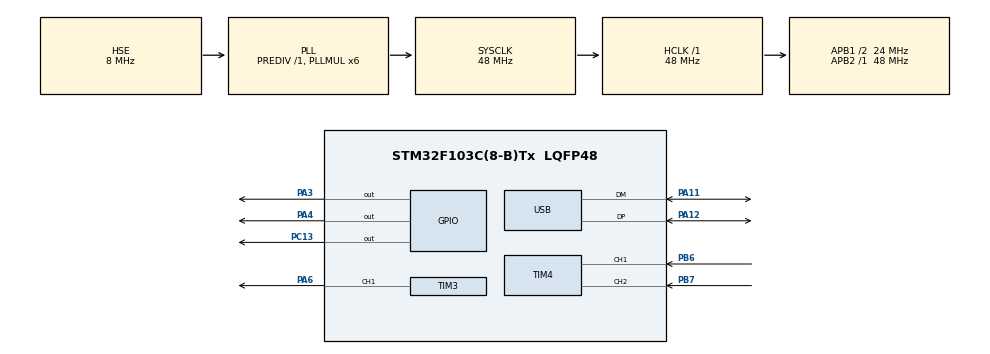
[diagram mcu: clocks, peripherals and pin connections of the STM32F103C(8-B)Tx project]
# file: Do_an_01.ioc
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Mcu.Family=STM32F1
Mcu.Name=STM32F103C(8-B)Tx
Mcu.Package=LQFP48
NVIC.PriorityGroup=NVIC_PRIORITYGROUP_4
NVIC.TIM2_IRQn=true\:0\:0\:false\:false\:true\:true\:true
NVIC.USB_LP_CAN1_RX0_IRQn=true\:0\:0\:false\:false\:true\:false\:true
PA11.Mode=Device
PA11.Signal=USB_DM
PA12.Mode=Device
PA12.Signal=USB_DP
PA13.Mode=Serial_Wire
PA13.Signal=SYS_JTMS-SWDIO
PA14.Mode=Serial_Wire
PA14.Signal=SYS_JTCK-SWCLK
PA3.Signal=GPIO_Output
PA4.Signal=GPIO_Output
PA6.Signal=S_TIM3_CH1
PB6.Signal=S_TIM4_CH1
PB7.Signal=S_TIM4_CH2
PC13-TAMPER-RTC.Signal=GPIO_Output
PD0-OSC_IN.Mode=HSE-External-Oscillator
PD0-OSC_IN.Signal=RCC_OSC_IN
PD1-OSC_OUT.Mode=HSE-External-Oscillator
PD1-OSC_OUT.Signal=RCC_OSC_OUT
ProjectManager.HeapSize=0x800
ProjectManager.StackSize=0x400
ProjectManager.TargetToolchain=MDK-ARM V5.27
RCC.AHBFreq_Value=48000000
RCC.APB1CLKDivider=RCC_HCLK_DIV2
RCC.APB1Freq_Value=24000000
RCC.APB1TimFreq_Value=48000000
RCC.APB2Freq_Value=48000000
RCC.APB2TimFreq_Value=48000000
RCC.HCLKFreq_Value=48000000
RCC.PLLMUL=RCC_PLL_MUL6
RCC.PLLSourceVirtual=RCC_PLLSOURCE_HSE
RCC.SYSCLKFreq_VALUE=48000000
RCC.SYSCLKSource=RCC_SYSCLKSOURCE_PLLCLK
RCC.USBFreq_Value=48000000
SH.S_TIM3_CH1.0=TIM3_CH1,PWM Generation1 CH1
SH.S_TIM4_CH1.0=TIM4_CH1,Encoder_Interface
SH.S_TIM4_CH2.0=TIM4_CH2,Encoder_Interface
TIM2.Period=9999
TIM2.Prescaler=47
TIM3.Channel-PWM\ Generation1\ CH1=TIM_CHANNEL_1
TIM3.CounterMode=TIM_COUNTERMODE_CENTERALIGNED3
TIM3.Period=999
TIM3.Prescaler=47
TIM4.EncoderMode=TIM_ENCODERMODE_TI12
USB_DEVICE.APP_RX_DATA_SIZE=64
USB_DEVICE.APP_TX_DATA_SIZE=64
USB_DEVICE.CLASS_NAME_FS=CDC
USB_DEVICE.VirtualMode=Cdc
USB_DEVICE.VirtualModeFS=Cdc_FS
VP_TIM2_VS_ClockSourceINT.Mode=Internal
VP_TIM3_VS_ClockSourceINT.Mode=Internal
VP_USB_DEVICE_VS_USB_DEVICE_CDC_FS.Mode=CDC_FS
board=custom

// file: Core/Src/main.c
/* USER CODE BEGIN Header */
/**
  ******************************************************************************
  * @file           : main.c
  * @brief          : Main program body
  ******************************************************************************
  * @attention
  *
  * <h2><center>&copy; Copyright (c) 2021 STMicroelectronics.
  * All rights reserved.</center></h2>
  *
  * This software component is licensed by ST under Ultimate Liberty license
  * SLA0044, the "License"; You may not use this file except in compliance with
  * the License. You may obtain a copy of the License at:
  *                             www.st.com/SLA0044
  *
  ******************************************************************************
  */
/* USER CODE END Header */
#include "main.h"
#include "tim.h"
#include "usb_device.h"
#include "gpio.h"

/* USER CODE BEGIN Includes */
#include <stdbool.h>
#include <stdint.h>
#include <string.h>
#include <math.h>
#include <stdio.h>
#include <stdlib.h>

#include "motor.h"
#include "pid.h"
#include "serial.h"

/* USER CODE END Includes */

void SystemClock_Config(void);

/* USER CODE BEGIN 0 */
extern PID_CONTROL_t tPIDControl;
extern PROFILE_t tProfile;
extern PROCESS_t tProcess;

extern bool g_bDataAvailable;
extern uint8_t nTxBuff[MAX_LEN];
extern uint8_t g_strCommand[4];
extern uint8_t g_nOption[3];
extern uint8_t g_nData[8];

extern int32_t g_nActPulse;
extern int32_t g_nCmdPulse;
extern uint16_t g_nIndex;
extern float g_dPIDError;

uint8_t g_strTxCommand[4];
uint8_t g_nTxOption[3];
uint8_t g_nTxData[8];
uint16_t g_nTuningSampleCount = 0;

uint16_t g_nCntPulse = 0; // count pulse speed
uint16_t g_nPosPulse = 0; // Position Pulse
uint16_t g_nSetPoint;
float g_nSetPulse;
extern uint8_t direct_st; //forward or reverse
extern int32_t g_nDutyCycle;
extern float fDuty;
			 bool g_direct;  //forward or reverse

/* USER CODE END 0 */

int main(void)
{

  /* MCU Configuration--------------------------------------------------------*/

  /* Reset of all peripherals, Initializes the Flash interface and the Systick. */
  HAL_Init();

  /* Configure the system clock */
  SystemClock_Config();

  /* Initialize all configured peripherals */
  MX_GPIO_Init();
  MX_TIM2_Init();
  MX_TIM3_Init();
  MX_TIM4_Init();
  MX_USB_DEVICE_Init();
  /* USER CODE BEGIN 2 */
	MotorInit();
  tProcess = NONE;
  /* USER CODE END 2 */

  /* Infinite loop */
  /* USER CODE BEGIN WHILE */
  while (1)
  {
		if (g_bDataAvailable == true)
    {
	  HAL_GPIO_TogglePin(GPIOC,GPIO_PIN_13);
      if (StrCompare(g_strCommand, (uint8_t *)"SPID", 4))
      {
        tProcess = SPID;
      }
      else if (StrCompare(g_strCommand, (uint8_t *)"PTUN", 4))
      {
        tProcess = PTUN_RES;
      }
			else if (StrCompare(g_strCommand, (uint8_t *)"STUN", 4))
			{
				tProcess = STUN_RES;
			}
			else if (StrCompare(g_strCommand,(uint8_t *)"SRUN", 4))
			{
				tProcess = SRUN_RES;
			}
			else if(StrCompare(g_strCommand, (uint8_t *)"PRUN", 4))
			{
				tProcess = PRUN_RES;
			}
			else if (StrCompare(g_strCommand, (uint8_t *)"STOP", 4))
			{
				tProcess = STOP;
			}
			else tProcess = NONE;
			g_bDataAvailable = false;
    }
		//---------------------------------------------------------------
    switch (tProcess)
    {
    case NONE:
      //SerialAcceptReceive();
      break;
    case SPID:
      SerialWriteComm(g_strCommand, g_nOption, g_nData);
			g_nCmdPulse = 0;
			PIDReset(&tPIDControl);
			__HAL_TIM_SetCounter(&htim4, 32768);
			g_nIndex = 0;

      /* Get PID params */
      tPIDControl.dKp = (float)g_nData[0] + (float)g_nData[1] / 10;
      tPIDControl.dKi = (float)g_nData[2] + (float)g_nData[3] / 10;
      tPIDControl.dKd = (float)g_nData[4] + (float)g_nData[5] / (pow((float)10, (float)g_nData[6]));

      tProcess = NONE;
      break;
    case PTUN_RES:
      SerialWriteComm(g_strCommand, g_nOption, g_nData);
			g_nSetPoint = (uint16_t)g_nData[0]*256 + (uint16_t)g_nData[1];
      tProcess = PTUN;
      break;
		case STUN_RES:
			SerialWriteComm(g_strCommand, g_nOption, g_nData);
			g_nSetPoint = (uint16_t)g_nData[0]*256 + (uint16_t)g_nData[1];
      tProcess = STUN;
			break;
    case PTUN:
      break;
		case STUN:
			break;
		case PRUN_RES:
			//
			SerialWriteComm(g_strCommand, g_nOption, g_nData);
			g_nSetPoint = (uint16_t)g_nData[6]*256 + (uint16_t)g_nData[7];
			if(g_nData[5] == 'F') g_direct = 1; //FOWARD
			else if(g_nData[5] == 'R') g_direct = 0; //REVERSE

			//Reset variable
      PIDReset(&tPIDControl);
      g_nActPulse = 0;
      g_nCmdPulse = 0;

      // Get Pmax, Vmax, Amax
			tProfile.dAccelMax = (float)((g_nData[0] >> 4) * 4096) + (float)((g_nData[0] & 0x0F) * 256) + (float)((g_nData[1] >> 4) * 16) + (float)((g_nData[1] & 0x0F) * 1);
      tProfile.dVelMax = (float)((g_nData[2] >> 4) * 4096) + (float)((g_nData[2] & 0x0F) * 256) + (float)((g_nData[3] >> 4) * 16) + (float)((g_nData[3] & 0x0F) * 1);
      tProfile.dPosMax = (float)((g_nData[6] >> 4) * 4096 ) + (float)((g_nData[6] & 0x0F) * 256) + (float)((g_nData[7] >> 4) * 16) + (float)((g_nData[7] & 0x0F) * 1);

			// Calculate params for trapezoidal speed
      tProfile.dA1 = 0.5f * tProfile.dAccelMax;
      tProfile.dA2 = tProfile.dVelMax;
      tProfile.dB2 = -0.5f * tProfile.dVelMax * tProfile.dVelMax / tProfile.dAccelMax;
      tProfile.dA3 = -0.5f * tProfile.dAccelMax;
      tProfile.dB3 = tProfile.dPosMax * tProfile.dAccelMax / tProfile.dVelMax + tProfile.dVelMax;
      tProfile.dC3 = -0.5f * tProfile.dPosMax * tProfile.dPosMax * tProfile.dAccelMax / (tProfile.dVelMax * tProfile.dVelMax) - 0.5f * tProfile.dVelMax * tProfile.dVelMax / tProfile.dAccelMax;
      tProfile.dMidStep1 = tProfile.dVelMax / tProfile.dAccelMax;
      tProfile.dMidStep2 = tProfile.dPosMax / tProfile.dVelMax;
      tProfile.dMidStep3 = tProfile.dMidStep1 + tProfile.dMidStep2;

      tProfile.nTime = 0;
			//
      tProcess = PRUN;
			break;
		case SRUN_RES:
			//
			SerialWriteComm(g_strCommand, g_nOption, g_nData);
			g_nSetPoint = (uint16_t)g_nData[6]*256 + (uint16_t)g_nData[7];
			if(g_nData[5] == 'F')
			{
				g_nSetPulse = ConvertDegToPulse(g_nSetPoint) / 100;
				g_direct = 1; //FOWARD
			}
			else if(g_nData[5] == 'R')
			{
				g_nSetPulse = -ConvertDegToPulse(g_nSetPoint) / 100;
				g_direct = 0; //REVERSE
			}
      tProcess = SRUN;
			break;
		case PRUN:
			break;
		case SRUN:
			break;
		case STOP:
			SerialWriteComm(g_strCommand, g_nOption, g_nData);

				MotorSetDuty(0);
				g_nActPulse = 0;
				g_nDutyCycle = 0;
				fDuty = 0;
				tProcess = NONE;
      break;

    }
    /* USER CODE END WHILE */

  }
}

void SystemClock_Config(void)
{
  RCC_OscInitTypeDef RCC_OscInitStruct = {0};
  RCC_ClkInitTypeDef RCC_ClkInitStruct = {0};
  RCC_PeriphCLKInitTypeDef PeriphClkInit = {0};

  /** Initializes the RCC Oscillators according to the specified parameters
  * in the RCC_OscInitTypeDef structure.
  */
  RCC_OscInitStruct.OscillatorType = RCC_OSCILLATORTYPE_HSE;
  RCC_OscInitStruct.HSEState = RCC_HSE_ON;
  RCC_OscInitStruct.HSEPredivValue = RCC_HSE_PREDIV_DIV1;
  RCC_OscInitStruct.HSIState = RCC_HSI_ON;
  RCC_OscInitStruct.PLL.PLLState = RCC_PLL_ON;
  RCC_OscInitStruct.PLL.PLLSource = RCC_PLLSOURCE_HSE;
  RCC_OscInitStruct.PLL.PLLMUL = RCC_PLL_MUL6;
  if (HAL_RCC_OscConfig(&RCC_OscInitStruct) != HAL_OK)
  {
    Error_Handler();
  }
  /** Initializes the CPU, AHB and APB buses clocks
  */
  RCC_ClkInitStruct.ClockType = RCC_CLOCKTYPE_HCLK|RCC_CLOCKTYPE_SYSCLK
                              |RCC_CLOCKTYPE_PCLK1|RCC_CLOCKTYPE_PCLK2;
  RCC_ClkInitStruct.SYSCLKSource = RCC_SYSCLKSOURCE_PLLCLK;
  RCC_ClkInitStruct.AHBCLKDivider = RCC_SYSCLK_DIV1;
  RCC_ClkInitStruct.APB1CLKDivider = RCC_HCLK_DIV2;
  RCC_ClkInitStruct.APB2CLKDivider = RCC_HCLK_DIV1;

  if (HAL_RCC_ClockConfig(&RCC_ClkInitStruct, FLASH_LATENCY_1) != HAL_OK)
  {
    Error_Handler();
  }
  PeriphClkInit.PeriphClockSelection = RCC_PERIPHCLK_USB;
  PeriphClkInit.UsbClockSelection = RCC_USBCLKSOURCE_PLL;
  if (HAL_RCCEx_PeriphCLKConfig(&PeriphClkInit) != HAL_OK)
  {
    Error_Handler();
  }
}

/* USER CODE BEGIN 4 */
/* Timer 2: 10ms */
void HAL_TIM_PeriodElapsedCallback(TIM_HandleTypeDef *htim)
{
	if (htim->Instance == htim2.Instance)
  {
    switch (tProcess)
    {
    case NONE:
      break;
    case SPID:
      break;
		case PTUN_RES:
			break;
		case STUN_RES:
			break;
    case PTUN:
			if (g_nIndex <= 500)
			{
				MotorPosTuning(g_nSetPoint);   //Tuning PID position (o)
				g_nIndex ++;
				// Send data Tuning
			  memcpy(g_strTxCommand, "PTUN", 4);
				memset(g_nTxOption, '\0', 3);
				g_nTxData[0] = 0x00;
				g_nTxData[1] = 0x00;
				g_nTxData[2] = 0x00;
				g_nTxData[3] = 0x00;
				g_nTxData[4] = 0x00;
				g_nTxData[5] = direct_st;
				g_nTxData[6] = (g_nPosPulse&0xFF00)>>8;
				g_nTxData[7] = (g_nPosPulse&0xFF);

        SerialWriteComm(g_strTxCommand, g_nTxOption, g_nTxData);

        memset(g_strTxCommand, '\0', 4);
        memset(g_nTxOption, '\0', 3);
        memset(g_nTxData, '\0', 8);
			}
      else
			{
				g_nIndex = 0;
				tProcess = NONE;
				MotorSetDuty(0);
				g_nActPulse = 0;
				g_nDutyCycle = 0;
			}
      break;
		case STUN:
			if (g_nIndex <= 1000)
			{
				MotorSpeedTuning(g_nSetPoint);    // Tunuing PID Speed (RPM)
				g_nIndex ++;
				// Send data Tuning
			  memcpy(g_strTxCommand, "STUN", 4);
				memset(g_nTxOption, '\0', 3);
				g_nTxData[0] = 0x00;
				g_nTxData[1] = 0x00;
				g_nTxData[2] = 0x00;
				g_nTxData[3] = 0x00;
				g_nTxData[4] = 0x00;
				g_nTxData[5] = direct_st;
				g_nTxData[6] = (g_nCntPulse&0xFF00)>>8;
				g_nTxData[7] = (g_nCntPulse&0xFF);

        SerialWriteComm(g_strTxCommand, g_nTxOption, g_nTxData);

        memset(g_strTxCommand, '\0', 4);
        memset(g_nTxOption, '\0', 3);
        memset(g_nTxData, '\0', 8);
			}
      else
			{
				g_nIndex = 0;
				tProcess = NONE;
				MotorSetDuty(0);
				g_nActPulse = 0;
				g_nDutyCycle = 0;
				fDuty = 0;
			}
		case PRUN_RES:
			break;
		case SRUN_RES:
			break;
		case PRUN:
			//
			MotorMovePos();
			memcpy(g_strTxCommand, "PRUN", 4);
			memset(g_nTxOption, '\0', 3);

			g_nTxData[0] = 0x00;
			g_nTxData[1] = 0x00;
			g_nTxData[2] = 0x00; //(g_nPosPulse&0xFF);
			g_nTxData[3] = 0x00;//(g_nPosPulse&0xFF00)>>8;
			g_nTxData[4] = 0x00;
			g_nTxData[5] = direct_st; // FOWARD(1) or REVERSE(0)
			g_nTxData[6] = (g_nPosPulse&0xFF00)>>8;
			g_nTxData[7] = (g_nPosPulse&0xFF);

      SerialWriteComm(g_strTxCommand, g_nTxOption, g_nTxData);

        //memset(g_strTxCommand, '\0', 4);
        //memset(g_nTxOption, '\0', 3);
        //memset(g_nTxData, '\0', 8);
			break;
		case SRUN:
			//
			ControlSpeed(g_nSetPulse);
			memcpy(g_strTxCommand, "SRUN", 4);
			memset(g_nTxOption, '\0', 3);
				g_nTxData[0] = 0x00;
				g_nTxData[1] = 0x00;
				g_nTxData[2] = 0x00;
				g_nTxData[3] = 0x00;
				g_nTxData[4] = 0x00;
				g_nTxData[5] = direct_st;
				g_nTxData[6] = (g_nCntPulse&0xFF00)>>8;
				g_nTxData[7] = (g_nCntPulse&0xFF);

      SerialWriteComm(g_strTxCommand, g_nTxOption, g_nTxData);
			break;
		case STOP:
			break;
    }
  }
}
/* USER CODE END 4 */

void Error_Handler(void)
{
  __disable_irq();
  while (1)
  {
  }
}

/************************ (C) COPYRIGHT STMicroelectronics *****END OF FILE****/
